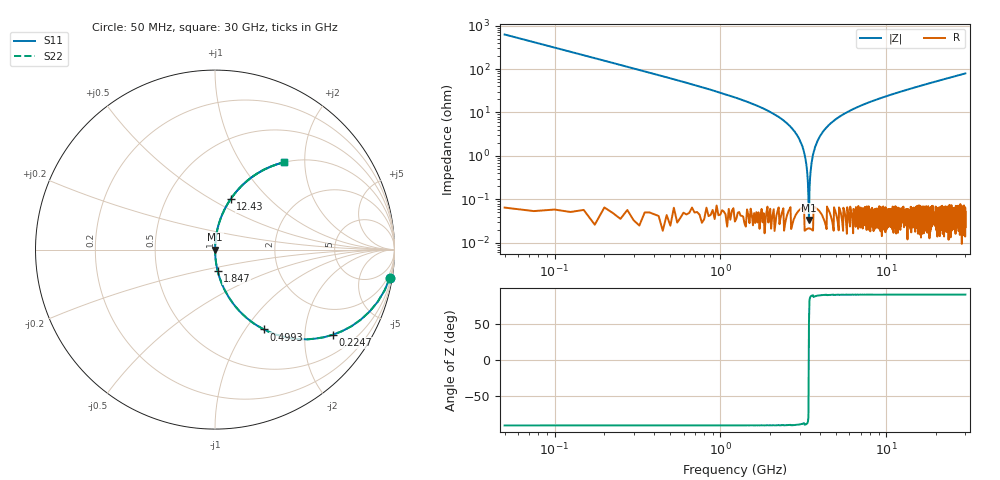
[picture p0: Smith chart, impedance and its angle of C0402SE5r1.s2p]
!	AVX Thin Film Operation 	Date: April 2014
!	Description: Accu-P® Series, Thin Film  SMD RF Capacitor
!	Part Number: 04025J5R1ABSTR
# MHZ S MA R 50
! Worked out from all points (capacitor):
!   1201 points, 50 MHz to 30 GHz, reference 50 ohm
!   read as one part in series: C = 5.1 pF near 199.8 MHz
!   lowest |Z| = 33.8 mohm at 3.419 GHz (marker M1)
!   series resonance near 3.415 GHz, so ESL is about 430 pH
!   S11 on the Smith chart (normalised r, x): 50 MHz: 1, -12; 224.7 MHz: 1.00, -2.76; 499.2 MHz: 1.00, -1.22; 1.847 GHz: 1.00, -0.24; 12.43 GHz: 1.00, +0.62; 30 GHz: 1.00, +1.59
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50  0.987 -9.1  0.158 80.9  0.158 80.9  0.987 -9.1
224.708  0.81 -35.9  0.586 54.1  0.586 54.1  0.81 -35.9
499.25  0.522 -58.5  0.853 31.4  0.853 31.4  0.522 -58.5
948.5  0.29 -73.0  0.956 16.9  0.956 16.9  0.29 -73.0
1847  0.119 -83.0  0.993 6.8  0.993 6.8  0.119 -83.0
2895.25  0.03 -87.5  0.999 1.7  0.999 1.7  0.03 -87.5
3119.875  0.017 -87.6  0.999 0.9  0.999 0.9  0.017 -87.6
3219.708  0.011 -87.1  1 0.6  1 0.6  0.011 -87.1
3294.583  0.006549 -85.9  1 0.4  1 0.4  0.006549 -85.9
3419.375  0.0005022 31.1  1 -0.0  1 -0.0  0.0005022 31.1
3519.208  0.005535 85.2  1 -0.3  1 -0.3  0.005535 85.2
3693.917  0.014 87.5  0.999 -0.8  0.999 -0.8  0.014 87.5
3918.542  0.025 87.6  0.999 -1.4  0.999 -1.4  0.025 87.6
4367.792  0.045 86.9  0.999 -2.6  0.999 -2.6  0.045 86.9
5041.667  0.073 85.5  0.997 -4.2  0.997 -4.2  0.073 85.5
7013.375  0.142 81.7  0.989 -8.1  0.989 -8.1  0.142 81.7
10058.29  0.232 76.5  0.972 -13.4  0.972 -13.4  0.232 76.5
12429.33  0.294 72.8  0.955 -17.1  0.955 -17.1  0.294 72.8
15025  0.356 69.1  0.934 -20.9  0.934 -20.9  0.356 69.1
20016.67  0.461 62.5  0.887 -27.5  0.887 -27.5  0.461 62.5
25033.29  0.549 56.6  0.835 -33.3  0.835 -33.3  0.549 56.6
30000  0.621 51.6  0.783 -38.4  0.783 -38.4  0.621 51.6
